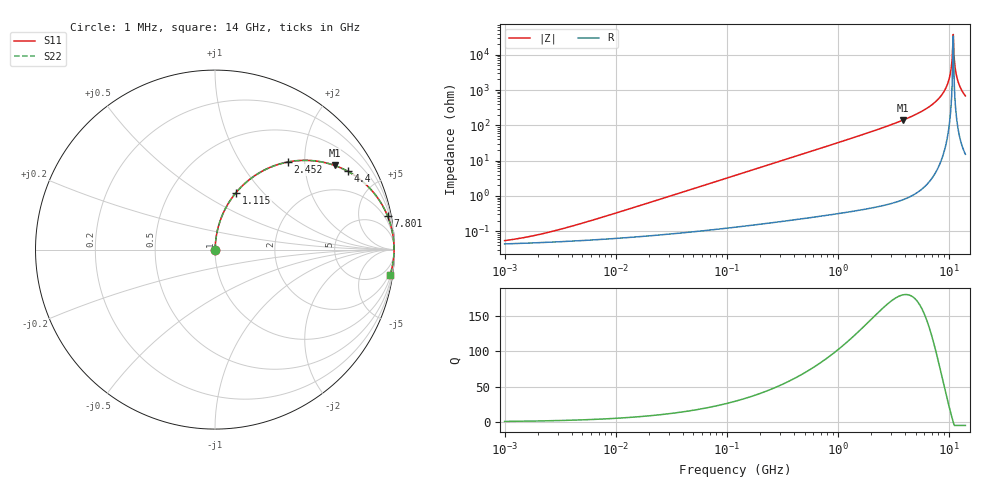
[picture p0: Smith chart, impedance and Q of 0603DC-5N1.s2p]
# MHz  S  MA  R  50
!Freq  MagS11  AngS11  MagS21  AngS21  MagS12  AngS12  MagS22  AngS22
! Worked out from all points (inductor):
!   801 points, 1 MHz to 14 GHz, reference 50 ohm
!   read as one part in series: L = 5.1 nH near 5.129 MHz
!   highest Q = 180 at 3.858 GHz (marker M1), where L = 5.83 nH
!   self-resonance near 10.77 GHz
!   S11 on the Smith chart (normalised r, x): 1 MHz: 1.00, +0.00; 1.115 GHz: 1.01, +0.72; 2.452 GHz: 1.01, +1.66; 4.4 GHz: 1.02, +3.37; 7.801 GHz: 1, +10; 14 GHz: 1, -14
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1  0.0005417 36.2  0.9996 -0.0  0.9996 -0.0  0.0005417 36.2
4.948533  0.001675 71.0  0.9995 -0.1  0.9995 -0.1  0.001675 71.0
24.19749  0.007787 83.8  0.9992 -0.4  0.9992 -0.4  0.007787 83.8
119.742  0.03832 85.9  0.998 -2.2  0.998 -2.2  0.03832 85.9
585.5183  0.1845 78.6  0.9804 -10.6  0.9804 -10.6  0.1845 78.6
1115.332  0.3387 69.7  0.9378 -19.8  0.9378 -19.8  0.3387 69.7
2451.657  0.6357 50.2  0.768 -39.5  0.768 -39.5  0.6357 50.2
2863.085  0.7 45.2  0.71 -44.4  0.71 -44.4  0.7 45.2
3858.342  0.8144 35.2  0.5758 -54.5  0.5758 -54.5  0.8144 35.2
4399.568  0.858 30.6  0.509 -59.1  0.509 -59.1  0.858 30.6
6145.037  0.9432 19.0  0.326 -70.6  0.326 -70.6  0.9432 19.0
7801.492  0.9797 11.0  0.1902 -78.4  0.1902 -78.4  0.9797 11.0
8790.312  0.9905 7.0  0.1219 -82.0  0.1219 -82.0  0.9905 7.0
9556.149  0.9951 4.2  0.07405 -84.1  0.07405 -84.1  0.9951 4.2
10023.37  0.9967 2.7  0.04673 -84.6  0.04673 -84.6  0.9967 2.7
10513.42  0.9975 1.1  0.01948 -82.1  0.01948 -82.1  0.9975 1.1
10896.63  0.9976 -0.1  0.002657 25.7  0.002657 25.7  0.9976 -0.1
11293.8  0.9973 -1.2  0.02179 82.2  0.02179 82.2  0.9973 -1.2
11705.45  0.9965 -2.4  0.04222 84.1  0.04222 84.1  0.9965 -2.4
12132.1  0.9954 -3.6  0.06269 84.0  0.06269 84.0  0.9954 -3.6
13032.63  0.9917 -5.9  0.1036 82.4  0.1036 82.4  0.9917 -5.9
14000  0.9863 -8.3  0.1446 80.4  0.1446 80.4  0.9863 -8.3
